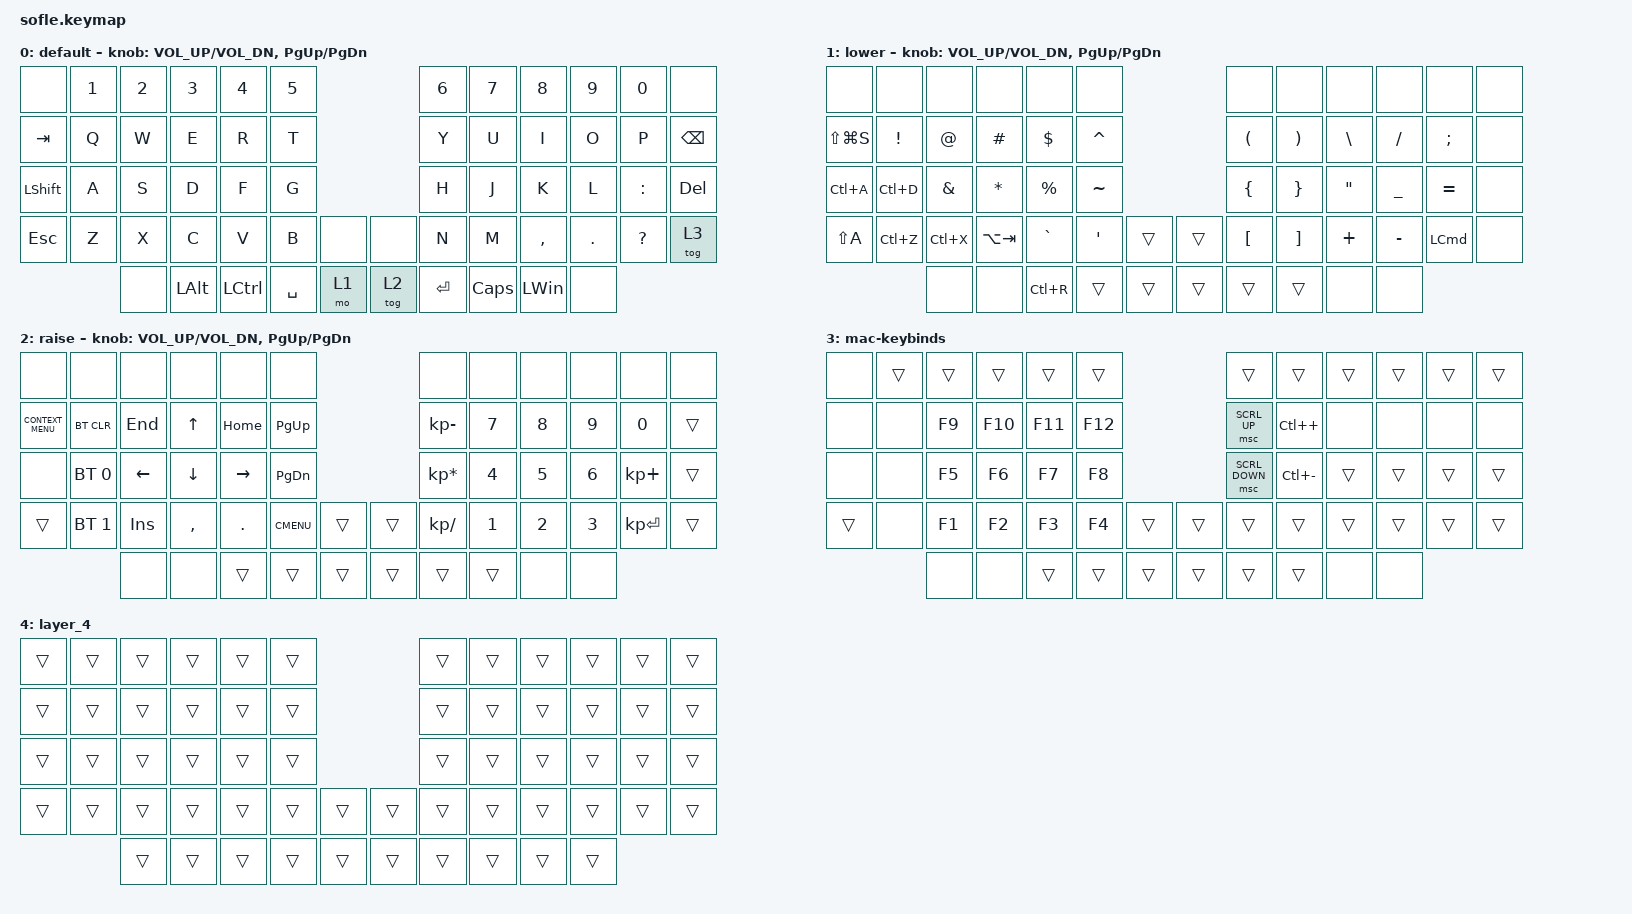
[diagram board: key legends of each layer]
/*
 * Copyright (c) 2020 The ZMK Contributors
 *
 * SPDX-License-Identifier: MIT
 */

#include <behaviors.dtsi>
#include <dt-bindings/zmk/bt.h>
#include <dt-bindings/zmk/keys.h>
#include <dt-bindings/zmk/pointing.h>

#define BASE 0
#define LOWER 1
#define RAISE 2
#define ADJUST 3

/ {
    // Activate ADJUST layer by pressing raise and lower

    conditional_layers { compatible = "zmk,conditional-layers"; };

    keymap {
        compatible = "zmk,keymap";

        default_layer {
            display-name = "default";

            // ------------------------------------------------------------------------------------------------------------
            // |   `   |  1  |  2  |  3   |  4   |  5   |                   |  6   |  7    |  8    |  9   |   0   |       |
            // |  ESC  |  Q  |  W  |  E   |  R   |  T   |                   |  Y   |  U    |  I    |  O   |   P   | BKSPC |
            // |  TAB  |  A  |  S  |  D   |  F   |  G   |                   |  H   |  J    |  K    |  L   |   ;   |   '   |
            // | SHIFT |  Z  |  X  |  C   |  V   |  B   |  MUTE  |  |       |  N   |  M    |  ,    |  .   |   /   | SHIFT |
            //               | GUI | ALT  | CTRL | LOWER|  ENTER |  | SPACE | RAISE| CTRL  | ALT   | GUI  |

            bindings = <
&none           &kp NUMBER_1  &kp NUMBER_2  &kp NUMBER_3  &kp NUMBER_4  &kp NUMBER_5                   &kp NUMBER_6  &kp NUMBER_7  &kp NUMBER_8  &kp NUMBER_9  &kp NUMBER_0  &none
&kp TAB         &kp Q         &kp W         &kp E         &kp R         &kp T                          &kp Y         &kp U         &kp I         &kp O         &kp P         &kp BACKSPACE
&kp LEFT_SHIFT  &kp A         &kp S         &kp D         &kp F         &kp G                          &kp H         &kp J         &kp K         &kp L         &kp COLON     &kp DEL
&kp ESC         &kp Z         &kp X         &kp C         &kp V         &kp B         &none    &none   &kp N         &kp M         &kp COMMA     &kp DOT       &kp QMARK     &tog 3
                              &none         &kp LEFT_ALT  &kp LCTRL     &kp SPACE     &mo 1    &tog 2  &kp ENTER     &kp CAPS      &kp LEFT_WIN  &none
            >;

            sensor-bindings = <&inc_dec_kp C_VOL_UP C_VOL_DN &inc_dec_kp PG_UP PG_DN>;
        };

        lower_layer {
            display-name = "lower";

            // TODO: Some binds are waiting for shifted keycode support.
            // ------------------------------------------------------------------------------------------------------------
            // |       |  F1 |  F2 |  F3  |  F4  |  F5  |                   |  F6  |  F7   |  F8   |  F9  |  F10  |  F11  |
            // |   `   |  1  |  2  |  3   |  4   |  5   |                   |  6   |  7    |  8    |  9   |   0   |  F12  |
            // |       |  !  |  @  |  #   |  $   |  %   |                   |  ^   |  &    |  *    |  (   |   )   |   |   |
            // |       |  =  |  -  |  +   |  {   |  }   |        |  |       |  [   |  ]    |  ;    |  :   |   \   |       |
            //               |     |      |      |      |        |  |       |      |       |       |      |

            bindings = <
&none          &none            &none          &none         &none        &none                               &none                 &none                  &none              &none      &none             &none
&kp LS(LG(S))  &kp EXCLAMATION  &kp AT         &kp HASH      &kp DOLLAR   &kp CARET                           &kp LEFT_PARENTHESIS  &kp RIGHT_PARENTHESIS  &kp BACKSLASH      &kp SLASH  &kp SEMI          &none
&kp LC(A)      &kp LC(D)        &kp AMPERSAND  &kp ASTERISK  &kp PERCENT  &kp TILDE                           &kp LEFT_BRACE        &kp RIGHT_BRACE        &kp DOUBLE_QUOTES  &kp UNDER  &kp EQUAL         &none
&kp LS(A)      &kp LC(Z)        &kp LC(X)      &kp LA(TAB)   &kp GRAVE    &kp SINGLE_QUOTE  &trans    &trans  &kp LBKT              &kp RBKT               &kp PLUS           &kp MINUS  &kp LEFT_COMMAND  &none
                                &none          &none         &kp LC(R)    &trans            &trans    &trans  &trans                &trans                 &none              &none
            >;

            sensor-bindings = <&inc_dec_kp C_VOL_UP C_VOL_DN &inc_dec_kp PG_UP PG_DN>;
        };

        raise_layer {
            display-name = "raise";

            // ------------------------------------------------------------------------------------------------------------
            // | BTCLR | BT1  | BT2  |  BT3  |  BT4  |  BT5 |                |      |      |       |      |       |       |
            // |       | INS  | PSCR | GUI   |       |      |                | PGUP |      |   ^   |      |       |       |
            // |       | ALT  | CTRL | SHIFT |       | CAPS |                | PGDN |   <- |   v   |  ->  |  DEL  | BKSPC |
            // |       | UNDO | CUT  | COPY  | PASTE |      |      |  |      |      |      |       |      |       |       |
            //                |      |       |       |      |      |  |      |      |      |       |      |

            bindings = <
&none               &none         &none     &none      &none      &none                            &none            &none   &none   &none   &none         &none
&kp K_CONTEXT_MENU  &bt BT_CLR    &kp END   &kp UP     &kp HOME   &kp PG_UP                        &kp KP_MINUS     &kp N7  &kp N8  &kp N9  &kp N0        &trans
&none               &bt BT_SEL 0  &kp LEFT  &kp DOWN   &kp RIGHT  &kp PAGE_DOWN                    &kp KP_MULTIPLY  &kp N4  &kp N5  &kp N6  &kp KP_PLUS   &trans
&trans              &bt BT_SEL 1  &kp INS   &kp COMMA  &kp DOT    &kp K_CMENU    &trans    &trans  &kp KP_SLASH     &kp N1  &kp N2  &kp N3  &kp KP_ENTER  &trans
                                  &none     &none      &trans     &trans         &trans    &trans  &trans           &trans  &none   &none
            >;

            sensor-bindings = <&inc_dec_kp C_VOL_UP C_VOL_DN &inc_dec_kp PG_UP PG_DN>;
        };

        mac-keybinds {
            bindings = <
&none   &trans  &trans  &trans   &trans   &trans                     &trans          &trans         &trans  &trans  &trans  &trans
&none   &none   &kp F9  &kp F10  &kp F11  &kp F12                    &msc SCRL_UP    &kp LC(PLUS)   &none   &none   &none   &none
&none   &none   &kp F5  &kp F6   &kp F7   &kp F8                     &msc SCRL_DOWN  &kp LC(MINUS)  &trans  &trans  &trans  &trans
&trans  &none   &kp F1  &kp F2   &kp F3   &kp F4   &trans    &trans  &trans          &trans         &trans  &trans  &trans  &trans
                &none   &none    &trans   &trans   &trans    &trans  &trans          &trans         &none   &none
            >;
        };

        layer_4 {
            bindings = <
&trans  &trans  &trans  &trans  &trans  &trans                    &trans  &trans  &trans  &trans  &trans  &trans
&trans  &trans  &trans  &trans  &trans  &trans                    &trans  &trans  &trans  &trans  &trans  &trans
&trans  &trans  &trans  &trans  &trans  &trans                    &trans  &trans  &trans  &trans  &trans  &trans
&trans  &trans  &trans  &trans  &trans  &trans  &trans    &trans  &trans  &trans  &trans  &trans  &trans  &trans
                &trans  &trans  &trans  &trans  &trans    &trans  &trans  &trans  &trans  &trans
            >;
        };
    };
};
